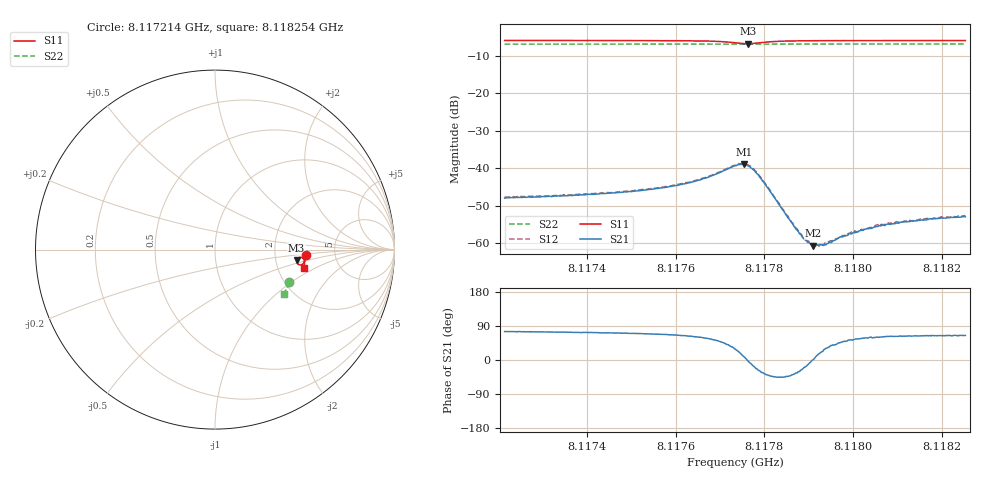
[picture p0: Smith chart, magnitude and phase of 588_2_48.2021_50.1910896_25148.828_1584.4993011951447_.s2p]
#  HZ  S  RI  R  50.00
! Rohde & Schwarz Vector Network Analyzer
! Rohde-Schwarz,ZNB20-2Port,1311601062101988,3.16
! Created: UTC 3/20/2024, 12:02:23 PM
! freq[Hz]  re:S11  im:S11  re:S21  im:S21  re:S12  im:S12  re:S22  im:S22
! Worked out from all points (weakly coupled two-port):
!   401 points, 8.117214 GHz to 8.118254 GHz, reference 50 ohm
!   highest |S21| = -38.97 dB at 8.117755 GHz (marker M1); lowest = -60.7 dB at 8.117911 GHz (marker M2)
!   lowest |S11| = -6.8 dB at 8.117763 GHz (marker M3), VSWR 2.69, Z = 131 - j20.1 ohm
!   |S11| at or under -10 dB: nowhere
!   |S22| runs from -6.9 to -6.8 dB; largest |S21 - S12| = 0.00053
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8.1172143e9  0.5056 -0.032  0.00102 0.00385  0.00115 0.00396  0.4134 -0.1826
8.1173884e9  0.5039 -0.0466  0.00133 0.00422  0.00137 0.00429  0.4089 -0.1941
8.1174586e9  0.5027 -0.0531  0.00149 0.00445  0.00157 0.00451  0.4069 -0.1984
8.1175625e9  0.5001 -0.0637  0.00202 0.00501  0.00207 0.00508  0.4039 -0.2052
8.1176509e9  0.494 -0.0758  0.00339 0.00599  0.00352 0.00607  0.401 -0.211
8.1177341e9  0.465 -0.0826  0.00943 0.00523  0.0096 0.00533  0.3972 -0.2159
8.1177549e9  0.4545 -0.0684  0.0111 0.0016  0.0114 0.00149  0.3963 -0.2164
8.1177627e9  0.4542 -0.0607  0.0108 -0.00033  0.0111 -0.000153  0.396 -0.2165
8.1177731e9  0.4586 -0.0514  0.00959 -0.00228  0.00997 -0.0023  0.3961 -0.2168
8.1177887e9  0.4697 -0.0439  0.00688 -0.00364  0.00691 -0.00383  0.3962 -0.2175
8.1178848e9  0.4976 -0.0613  0.00112 -0.000533  0.00117 -0.000533  0.3943 -0.2242
8.1178926e9  0.4979 -0.0626  0.00104 -0.000346  0.00107 -0.000361  0.3941 -0.2249
8.1179082e9  0.4985 -0.0653  0.000928 -1.34e-05  0.000967 -8.33e-06  0.3937 -0.2259
8.1179108e9  0.4985 -0.0656  0.000925 1.9e-05  0.000989 5.8e-05  0.3936 -0.2261
8.117929e9  0.4988 -0.0683  0.000886 0.00035  0.000905 0.000332  0.3929 -0.2272
8.1179368e9  0.4988 -0.0695  0.000829 0.000458  0.000902 0.000442  0.3926 -0.2277
8.117968e9  0.4991 -0.0733  0.000822 0.000841  0.000835 0.000831  0.3915 -0.2298
8.1179966e9  0.4991 -0.0767  0.000792 0.00107  0.00089 0.00109  0.3906 -0.2315
8.1180512e9  0.4986 -0.0823  0.000838 0.00142  0.000873 0.00149  0.3888 -0.2349
8.1180824e9  0.4982 -0.0852  0.000843 0.00158  0.000871 0.00162  0.3878 -0.237
8.1181785e9  0.497 -0.0937  0.000897 0.00191  0.000928 0.00189  0.3845 -0.2428
8.1182539e9  0.4959 -0.1  0.000958 0.00203  0.000997 0.00211  0.3818 -0.2476
